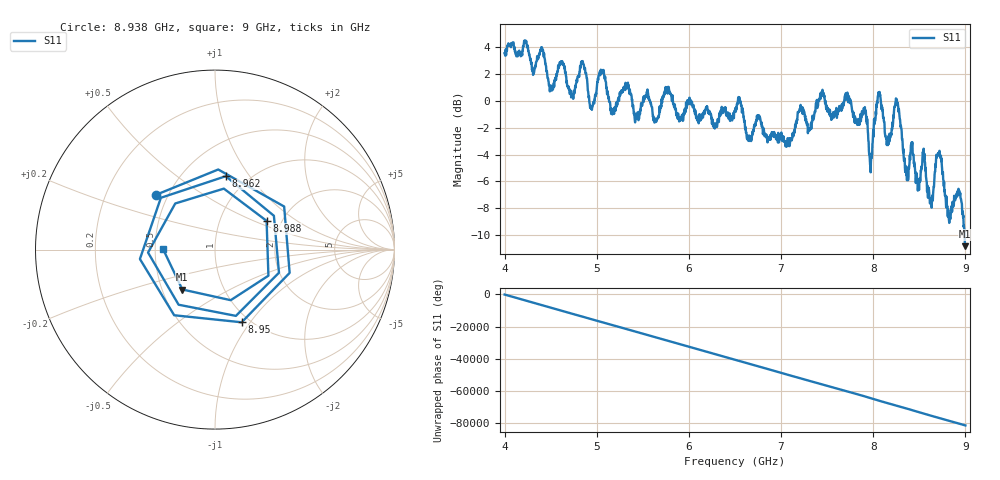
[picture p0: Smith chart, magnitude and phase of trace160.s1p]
! Created with skrf 1.8.0 (http://scikit-rf.org).
# Hz S RI R 50.0
!freq ReS11 ImS11
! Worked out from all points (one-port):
!   1601 points, 4 GHz to 9 GHz, reference 50 ohm
!   lowest |S11| = -10.8 dB at 8.997 GHz (marker M1), VSWR 1.81, Z = 31.7 - j15.4 ohm
!   |S11| at or under -10 dB: 8.992203 GHz to end of sweep
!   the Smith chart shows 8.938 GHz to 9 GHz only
!   S11 on the Smith chart (normalised r, x): 8.938 GHz: 0.43, +0.33; 8.95 GHz: 0.92, -0.91; 8.962 GHz: 0.79, +0.78; 8.988 GHz: 1.67, +0.60; 9 GHz: 0.55, +0.01
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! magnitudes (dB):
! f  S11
! 4 GHz  3.6
! 4.406 GHz  4.0
! 4.506 GHz  0.8
! 4.625 GHz  3.0
! 4.731 GHz  0.4
! 4.85 GHz  2.9
! 4.944 GHz  -0.4
! 5.05 GHz  2.2
! 5.25 GHz  0.6
! 5.875 GHz  -1.1
! 6.5 GHz  -0.7
! 7.125 GHz  -2.4
! 7.75 GHz  0.1
! 7.972 GHz  -5.3
! 8.059 GHz  0.5
! 8.156 GHz  -2.8
! 8.256 GHz  0.1
! 8.375 GHz  -5.0
! 8.547 GHz  -3.6
! 8.625 GHz  -7.4
! 8.709 GHz  -3.9
! 8.822 GHz  -8.9
! 8.938 GHz  -6.9
! 8.95 GHz  -7.3
! 8.962 GHz  -7.7
! 8.988 GHz  -9.7
! 8.997 GHz  -10.8
! 9 GHz  -10.7
